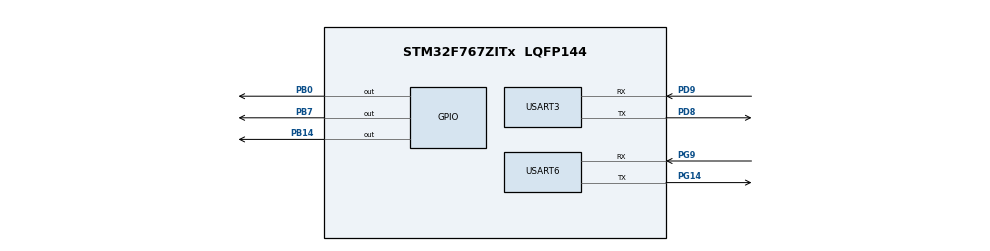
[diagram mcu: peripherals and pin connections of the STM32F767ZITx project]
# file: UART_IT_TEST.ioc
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CORTEX_M7.default_mode_Activation=1
Mcu.Family=STM32F7
Mcu.Name=STM32F767ZITx
Mcu.Package=LQFP144
NVIC.PriorityGroup=NVIC_PRIORITYGROUP_4
NVIC.USART3_IRQn=true\:0\:0\:false\:false\:true\:true\:true\:true
NVIC.USART6_IRQn=true\:0\:0\:false\:false\:true\:true\:true\:true
PB0.Signal=GPIO_Output
PB14.Signal=GPIO_Output
PB7.Signal=GPIO_Output
PD8.Mode=Asynchronous
PD8.Signal=USART3_TX
PD9.Mode=Asynchronous
PD9.Signal=USART3_RX
PG14.Mode=Asynchronous
PG14.Signal=USART6_TX
PG9.Mode=Asynchronous
PG9.Signal=USART6_RX
ProjectManager.HeapSize=0x200
ProjectManager.StackSize=0x400
ProjectManager.TargetToolchain=STM32CubeIDE
RCC.HSE_VALUE=25000000
RCC.HSI_VALUE=16000000
RCC.LSE_VALUE=32768
RCC.USBFreq_Value=96000000
RCC.VCOOutputFreq_Value=192000000
USART3.VirtualMode-Asynchronous=VM_ASYNC
USART6.VirtualMode-Asynchronous=VM_ASYNC
board=custom

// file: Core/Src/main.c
/* USER CODE BEGIN Header */
/**
  ******************************************************************************
  * @file           : main.c
  * @brief          : Main program body
  ******************************************************************************
  * @attention
  *
  * Copyright (c) 2023 STMicroelectronics.
  * All rights reserved.
  *
  * This software is licensed under terms that can be found in the LICENSE file
  * in the root directory of this software component.
  * If no LICENSE file comes with this software, it is provided AS-IS.
  *
  ******************************************************************************
  */
/* USER CODE END Header */
#include "main.h"
#include "usart.h"
#include "gpio.h"

/* USER CODE BEGIN Includes */
#include "stdio.h"
#include "string.h"
#include "stdarg.h"
/* USER CODE END Includes */

/* USER CODE BEGIN PV */
char receiveText[50];
int receiveTextLength = 0;

char myUserName[50];
char coUserName[50];

char rxData[5];
char receivedMessage[100];
int receivedIndex = 0;

volatile int isFirstRx = 1;
volatile int isSendable = 1;
int isQuit = 0;

/* USER CODE END PV */

void SystemClock_Config(void);

/* USER CODE BEGIN 0 */
void delay(uint32_t delay)
{
	HAL_Delay(delay);
}

void printOut(const char * text)
{
	while(__HAL_UART_GET_FLAG(&huart3,UART_FLAG_TC) == RESET) {}
	HAL_UART_Transmit(&huart3, (uint8_t*) text, strlen(text), 100);
}

void printOutLine(const char * text)
{
	printOut(text);
	printOut("\r\n");
}

void receiveUserInput()
{
	receiveTextLength = 0;
	char ch = 'a';
	while(ch != '\r')
	{
		while(__HAL_UART_GET_FLAG(&huart3, UART_FLAG_RXNE) == RESET) {}
		HAL_UART_Receive(&huart3, (uint8_t*) &ch, 1, 100);
		//SAVE INPUT TO GLobal STRING
		receiveText[receiveTextLength++]= ch;
		while(__HAL_UART_GET_FLAG(&huart3, UART_FLAG_TC) == RESET) {}
		HAL_UART_Transmit(&huart3, (uint8_t*) &ch, 1, 100);
	}
	//ADD "/r/n"
	receiveText[receiveTextLength++]= '\n';
	printOut("\n");
}

void sentMessage(char * text)
{
	while(__HAL_UART_GET_FLAG(&huart6, UART_FLAG_TC) == RESET) {}
	HAL_UART_Transmit(&huart6, (uint8_t*)text, strlen(text), 1000);
	isSendable = 0;
}

void inputName()
{
	printOut("\tName: ");
	receiveUserInput();

	// Text require "\r\n"
	sentMessage(receiveText);

	strncpy(myUserName, receiveText, receiveTextLength-2);
	myUserName[receiveTextLength-2] = '\0';
}

void checkCoUserIsReady()
{
	while (isFirstRx) { }
	char text[100];
	sprintf(text,"\t%s is ready\r\n", coUserName);
	printOut(text);
}

void checkQuitStatus(char *text)
{
	if (text[0] == 'q' && text[2] == '\n')
	{
		isQuit = 1;
		isSendable = 0;
    	HAL_UART_DeInit(&huart6);
	}
}

void userInputText()
{
	char text[100];
	sprintf(text,"\t %s => ", myUserName);
	printOut(text);
	receiveUserInput();
}

void showReceivedMessage()
{
	if (strlen(receivedMessage) == 0) {return;}
	char text[100];
	sprintf(text,"\t %s : %s\r\n", coUserName, receivedMessage);
	printOut(text);
}

void HAL_UART_RxCpltCallback(UART_HandleTypeDef *huart)
{
    if (rxData[0] == '\n')
    {
    	HAL_UART_Init(&huart3);
        // End of message received, process it
    	receivedMessage[--receivedIndex] = '\0';
        if (isFirstRx)
        {
        	strcpy(coUserName, receivedMessage);
        	isFirstRx = 0;
        	isSendable = 1;
        } else if (receivedMessage[0] == 'q' && receivedMessage[1] == '\0')
		{
        	isQuit = 1;
        	isSendable = 0;
        	HAL_UART_DeInit(&huart6);
		} else
        {
        	showReceivedMessage();
        	receivedMessage[0]='\0';
        	isSendable = 1;
        }
        // Reset the index for the next message
        receivedIndex = 0;
    } else
    {
    	receivedMessage[receivedIndex++] = rxData[0];
    }

    // Enable UART receive interrupt again
    HAL_UART_Receive_IT(&huart6, (uint8_t*)rxData, 1);
}

/* USER CODE END 0 */

int main(void)
{

  /* MCU Configuration--------------------------------------------------------*/

  /* Reset of all peripherals, Initializes the Flash interface and the Systick. */
  HAL_Init();

  /* Configure the system clock */
  SystemClock_Config();

  /* Initialize all configured peripherals */
  MX_GPIO_Init();
  MX_USART3_UART_Init();
  MX_USART6_UART_Init();
  /* USER CODE BEGIN 2 */
  const char WELCOME_TEXT[] = "Man from U.A.R.T.1!\r\nQuit PRESS q\r\n";

  HAL_UART_Receive_IT(&huart6, (uint8_t*)rxData, 1);
  /* USER CODE END 2 */

  /* Infinite loop */
  while (1)
  {

    /* USER CODE BEGIN 3 */
	  printOut(WELCOME_TEXT);
	  inputName();
	  checkCoUserIsReady();

	  while(!isQuit)
	  {
//		  while(!isSendable && !isQuit)
//		  {
//		  		  char ch;
//		  		  while(__HAL_UART_GET_FLAG(&huart3, UART_FLAG_RXNE) == RESET&& !isSendable && !isQuit) {}
//		  	  		HAL_UART_Receive(&huart3, (uint8_t*) &ch, 1, 100);
//		  }
		  while(isSendable)
		  {
			  userInputText();
			  sentMessage(receiveText);
			  checkQuitStatus(receiveText);
			  HAL_UART_DeInit(&huart3);
			  delay(100);
		  }
		  delay(10);
	  }
	  HAL_UART_Init(&huart3);
	  printOut("QUIT\r\n");
	  while(1){}
  }
  /* USER CODE END 3 */
}

void SystemClock_Config(void)
{
  RCC_OscInitTypeDef RCC_OscInitStruct = {0};
  RCC_ClkInitTypeDef RCC_ClkInitStruct = {0};

  /** Configure the main internal regulator output voltage
  */
  __HAL_RCC_PWR_CLK_ENABLE();
  __HAL_PWR_VOLTAGESCALING_CONFIG(PWR_REGULATOR_VOLTAGE_SCALE3);

  /** Initializes the RCC Oscillators according to the specified parameters
  * in the RCC_OscInitTypeDef structure.
  */
  RCC_OscInitStruct.OscillatorType = RCC_OSCILLATORTYPE_HSI;
  RCC_OscInitStruct.HSIState = RCC_HSI_ON;
  RCC_OscInitStruct.HSICalibrationValue = RCC_HSICALIBRATION_DEFAULT;
  RCC_OscInitStruct.PLL.PLLState = RCC_PLL_NONE;
  if (HAL_RCC_OscConfig(&RCC_OscInitStruct) != HAL_OK)
  {
    Error_Handler();
  }

  /** Initializes the CPU, AHB and APB buses clocks
  */
  RCC_ClkInitStruct.ClockType = RCC_CLOCKTYPE_HCLK|RCC_CLOCKTYPE_SYSCLK
                              |RCC_CLOCKTYPE_PCLK1|RCC_CLOCKTYPE_PCLK2;
  RCC_ClkInitStruct.SYSCLKSource = RCC_SYSCLKSOURCE_HSI;
  RCC_ClkInitStruct.AHBCLKDivider = RCC_SYSCLK_DIV1;
  RCC_ClkInitStruct.APB1CLKDivider = RCC_HCLK_DIV1;
  RCC_ClkInitStruct.APB2CLKDivider = RCC_HCLK_DIV1;

  if (HAL_RCC_ClockConfig(&RCC_ClkInitStruct, FLASH_LATENCY_0) != HAL_OK)
  {
    Error_Handler();
  }
}

/* USER CODE BEGIN 4 */
// For My debugging
//void HAL_GPIO_EXTI_Callback(uint16_t GPIO_Pin)
//{
//	if (GPIO_Pin == GPIO_PIN_13)
//	{
//		sentMessage("Board 1 BYPASS\r\n");
//	}
//}

void blinkOn(int pinNumber)
{
	uint16_t pins[3] =
	{
			GPIO_PIN_0,
			GPIO_PIN_7,
			GPIO_PIN_14
	};

	HAL_GPIO_WritePin(GPIOB, pins[pinNumber], GPIO_PIN_SET);
}

void blinkOff(int pinNumber)
{
	uint16_t pins[3] =
	{
			GPIO_PIN_0,
			GPIO_PIN_7,
			GPIO_PIN_14
	};

	HAL_GPIO_WritePin(GPIOB, pins[pinNumber], GPIO_PIN_RESET);
}
/* USER CODE END 4 */

void Error_Handler(void)
{
  __disable_irq();
  while (1)
  {
  }
}
